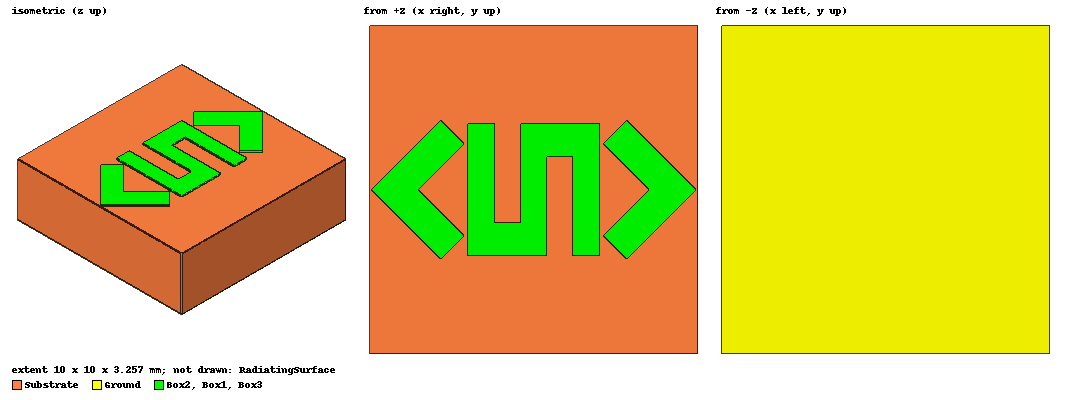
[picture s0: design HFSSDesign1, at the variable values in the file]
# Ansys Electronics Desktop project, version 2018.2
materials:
  vacuum: permittivity=1
  FR4_epoxy: permittivity=4.4 dielectric_loss_tangent=0.02
  pec: conductivity=1e+30

design HFSSDesign1 (HFSS, DrivenModal, model units mm)
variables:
  p = 10mm
  h = 3.2mm
  l1 = 3mm
  d = 1mm
  w = 1mm
  s = 1mm
  ra = 1.5mm
  rb = 1mm
  ls = 4mm
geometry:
  Substrate [FR4_epoxy] = box(corner=(-p /2, -p/2, 0mm), size=(p, p, h))
  Ground [pec] = box(corner=(-p /2, -p/2, 0mm), size=(p, p, -0.022mm))
  Box1 [pec] = box(corner=(d/2, -w/2, h), size=(l1, -l1, 0.035mm))
  substract1 = box(corner=(d/2, -w/2, h), size=(l1-s, -l1+s, 0.035mm))
  Box1.subtract(substract1)
  Box2 [pec] = box(corner=(-d/2, w/2, h), size=(-l1, l1, 0.035mm))
  substract2 = box(corner=(-d/2, w/2, h), size=(-l1+s, l1-s, 0.035mm))
  Box2.subtract(substract2)
  RadiatingSurface [vacuum] = region(absolute_offset: +X=0mm, -X=0mm, +Y=0mm, -Y=0mm, +Z=10mm, -Z=0mm)
  Box3 [pec] = box(corner=(2*d, -2*w, h), size=(-ls, ls, 0.035mm))
  substract3 = box(corner=(d, -ls/2 + ls/5, h), size=(-ls+d, ls/5, 0.035mm))
  substract4 = box(corner=(-d, ls/2 - ls/5, h), size=(ls-d, -ls/5, 0.035mm))
  Box3.subtract(substract3, substract4)
  Box3.rotate(axis=Z, angle=45deg)
  [Box1, Box2, Box3].rotate(axis=Z, angle=-90deg)
  [Box2, Box1, Box3].rotate(axis=Z, angle=135deg)
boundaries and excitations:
  Master1: Master Faces=RadiatingSurface.face(+x) CoordSysVector{RadiatingSurface.edge(12 of 12) at 0.998 along -> middle of RadiatingSurface.edge(12 of 12)} ReverseV
  Slave1: Slave Faces=RadiatingSurface.face(-x) CoordSysVector{RadiatingSurface.edge(11 of 12) at 0.998 along -> RadiatingSurface.edge(11 of 12) at 0.75 along} master=Master1 UseScanAngles Phi=0deg Theta=0deg
  Master2: Master Faces=RadiatingSurface.face(+y) CoordSysVector{RadiatingSurface.edge(11 of 12) at 0.998 along -> middle of RadiatingSurface.edge(11 of 12)} ReverseV
  Slave2: Slave Faces=RadiatingSurface.face(-y) CoordSysVector{RadiatingSurface.edge(9 of 12) at 0.998 along -> RadiatingSurface.edge(9 of 12) at 0.757 along} master=Master2 UseScanAngles Phi=0deg Theta=0deg
  FloquetPort1: Floquet Port Faces=RadiatingSurface.face(+z) NumModes=2 Modes{Mode1{CharImp=Zpi} Mode2{CharImp=Zpi}} UseScanAngles Phi=0deg Theta=0deg LatticeAVector{RadiatingSurface.vertex(2 of 8) -> RadiatingSurface.vertex(1 of 8)} LatticeBVector{RadiatingSurface.vertex(2 of 8) -> RadiatingSurface.vertex(3 of 8)} ModesList{Mode{ModeNumber=1 IndexM=0 IndexN=0 KC2=0 PropagationState=Propagating Attenuation=0 PolarizationState=TE AffectsRefinement} Mode{ModeNumber=2 IndexM=0 IndexN=0 KC2=0 PropagationState=Propagating Attenuation=0 PolarizationState=TM AffectsRefinement}}
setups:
  Setup1: HfssDriven AdaptMultipleFreqs MultipleAdaptiveFreqsSetup{Broadband{Low=2GHz High=20GHz}} MaxDeltaS=0.02 MaximumPasses=14 MinimumPasses=1 MinimumConvergedPasses=1 PercentRefinement=30 BasisOrder=1 PortAccuracy=2
    sweep Sweep: 2GHz to 20GHz step 0.01GHz; Type=Interpolating InterpTolerance=0.5 InterpMaxSolns=250 InterpUsePortImped=false PassivityErrorTolerance=0.0001
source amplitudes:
  FloquetPort1:1: 1W 0deg
  FloquetPort1:2: 0W 0deg
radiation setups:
  3D: Infinite Sphere Theta=0deg..180deg step 2deg Phi=-180deg..180deg step 2deg
  Elevation: Infinite Sphere Theta=-180deg..180deg step 1deg Phi=0deg..90deg step 90deg
  Azimuth: Infinite Sphere Theta=90deg..90deg step 0deg Phi=-180deg..180deg step 1deg
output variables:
  PCR = ((mag(S(FloquetPort1:1,FloquetPort1:2))^2))/((mag(S(FloquetPort1:1,FloquetPort1:2)^2))+(mag(S(FloquetPort1:1,FloquetPort1:1)^2)))
  shi = (ang_deg(S(FloquetPort1:1,FloquetPort1:1))-ang_deg(S(FloquetPort1:1,FloquetPort1:2)))
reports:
  S Parameter Plot 1: dB(S(FloquetPort1:1,FloquetPort1:1)), dB(S(FloquetPort1:1,FloquetPort1:2)) vs Freq on Setup1 : Sweep; markers m1 at 8.63GHz, m2 at 10.25GHz, m3 at 18.13GHz, m4 at 18.02GHz, m5 at 18.87GHz, MY1 at y=-103.929
  Output Variables Plot (ru rv): shi vs Freq on Setup1 : Sweep; markers MY1 at y=-3.10887, MY2 at y=3.15562
  S Parameter Plot 2: mag(S(FloquetPort1:1,FloquetPort1:1)), mag(S(FloquetPort1:2,FloquetPort1:2)) vs Freq on Setup1 : Sweep; markers m1 at 14.93GHz, m2 at 16.85GHz, m3 at 16.26GHz, m4 at 11.86GHz, m5 at 7.1GHz, m6 at 10.07GHz
